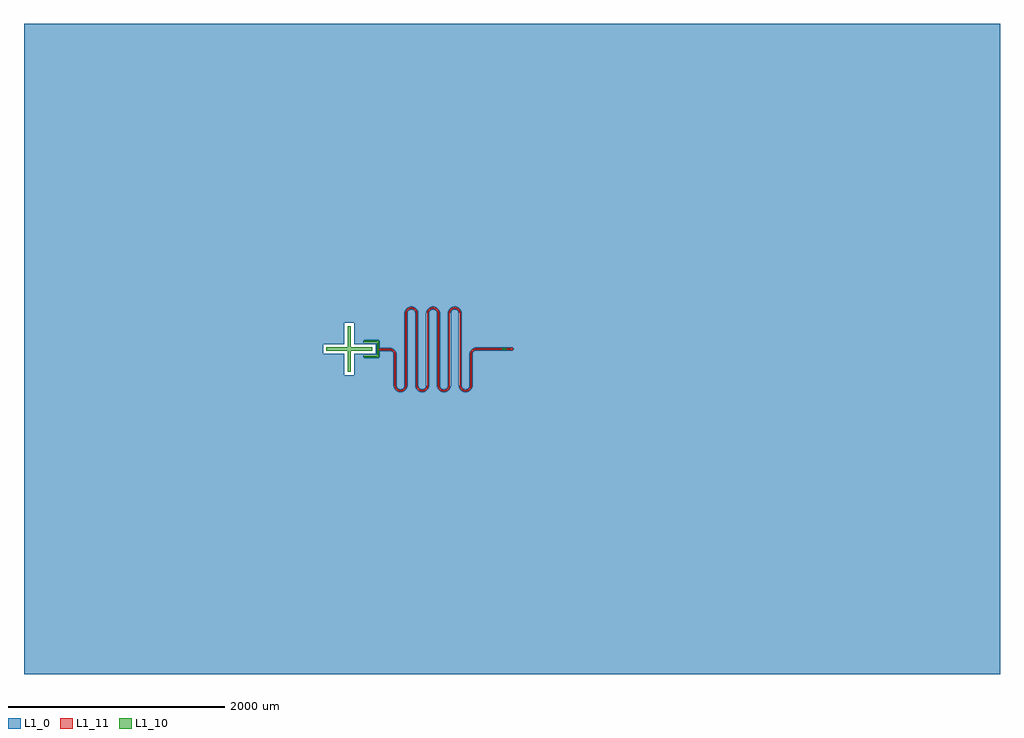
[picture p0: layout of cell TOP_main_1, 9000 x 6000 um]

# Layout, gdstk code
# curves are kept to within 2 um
import gdstk
lib = gdstk.Library(unit=1e-6, precision=1e-09)
def R(c, l, rs):  # rectangles x0, y0, x1, y1
    for r in rs: c.add(gdstk.rectangle(r[:2], r[2:], *l))
def P(c, l, *ps):  # polygons
    for p in ps: c.add(gdstk.Polygon(p, *l))
L1_0 = (1, 0)
L1_10 = (1, 10)
L1_11 = (1, 11)

ground_main_1 = lib.new_cell('ground_main_1')
P(ground_main_1, L1_0, [(-1247.928,-55),(-1247.928,55),(-1369.139,55),(-1369.139,80.2),(-1222.728,80.2),(-1222.728,7.2),(-1116.675,6.188),(-1096.028,-1.709),(-1078.239,-18.244),(-1070.137,-34.003),(-1066.918,-51.428),(-1066.525,-340.278),(-1062.227,-353.507),(-1052.213,-365.502),(-1039.964,-372.094),(-1025.98,-373.961),(-1025.98,3000),(-4500,3000),(-4500,-45),(-1742.072,-45),(-1742.072,45),(-1545,45),(-1545,242.072),(-1455,242.072),(-1455,45),(-1257.928,45),(-1257.928,-45),(-1455,-45),(-1455,-242.072),(-1545,-242.072),(-1545,-45),(-4500,-45),(-4500,-3000),(-1025.98,-3000),(-1025.98,-395.868),(-1047.575,-392.641),(-1066.852,-381.822),(-1080.992,-364.831),(-1087.766,-346.102),(-1088.817,-51.903),(-1095.221,-32.193),(-1107.75,-20.213),(-1122.499,-15.053),(-1222.728,-14.7),(-1222.728,-80.2),(-1369.139,-80.2),(-1369.139,-55)],
  [(-1024.236,-373.843),(-1010.828,-370.143),(-999.575,-361.967),(-991.912,-350.358),(-988.817,-336.797),(-988.129,336.41),(-977.416,362.956),(-955.751,381.666),(-927.928,388.4),(-899.905,381.666),(-899.905,3000),(-1025.98,3000)],
  [(-899.905,354.796),(-919.061,365.523),(-939.964,364.594),(-957.26,353.177),(-966.252,334.505),(-967.04,-339.492),(-972.631,-360.878),(-985.493,-378.856),(-1003.929,-391.053),(-1025.98,-395.868),(-1025.98,-3000),(-899.905,-3000)],
  [(-825.98,-373.961),(-812.419,-370.866),(-799.575,-361.967),(-791.261,-348.736),(-788.778,-335.05),(-788.413,3000),(-899.905,3000),(-899.905,381.666),(-876.979,361.125),(-870.137,347.197),(-866.918,329.772),(-866.721,-338.541),(-862.227,-353.507),(-853.554,-364.382),(-839.964,-372.094)],
  [(-788.413,-381.484),(-801.9,-390.146),(-816.675,-394.888),(-832.369,-395.738),(-849.665,-391.885),(-874.7,-373.974),(-883.931,-358.849),(-888.129,-343.91),(-888.778,327.55),(-891.912,342.858),(-899.905,354.796),(-899.905,-3000),(-788.413,-3000)],
  [(-788.129,336.41),(-782.044,355.373),(-771.734,369.784),(-755.751,381.666),(-736.788,387.751),(-718.868,387.751),(-699.905,381.666),(-683.922,369.784),(-672.631,353.378),(-672.631,3000),(-788.413,3000)],
  [(-672.631,-376.319),(-683.931,-358.849),(-688.737,-337.272),(-689.13,332.778),(-694.291,347.527),(-703.443,358.002),(-715.692,364.594),(-729.675,366.461),(-743.236,363.366),(-756.081,354.467),(-763.743,342.858),(-766.838,329.297),(-766.918,-337.272),(-772.631,-360.878),(-788.413,-381.484),(-788.413,-3000),(-672.631,-3000)],
  [(-625.98,-373.961),(-612.419,-370.866),(-600.811,-363.203),(-592.635,-351.95),(-588.935,-338.541),(-588.737,329.772),(-580.992,357.331),(-563.334,377.039),(-563.334,3000),(-672.631,3000),(-672.631,353.378),(-666.878,327.55),(-666.878,-335.05),(-663.743,-350.358),(-654.845,-363.203),(-641.614,-371.516)],
  [(-563.334,343.76),(-566.878,327.55),(-567.526,-343.91),(-572.631,-360.878),(-582.408,-375.656),(-596.028,-386.991),(-610.197,-393.32),(-627.728,-395.9),(-643.319,-393.921),(-659.627,-386.991),(-672.631,-376.319),(-672.631,-3000),(-563.334,-3000)],
  [(-559.627,379.491),(-532.369,388.238),(-501.9,382.646),(-479.565,364.74),(-467.526,336.41),(-466.838,-336.797),(-459.439,-357.944),(-441.158,-371.676),(-441.158,3000),(-563.334,3000),(-563.334,377.039)],
  [(-441.158,-394.444),(-459.627,-386.991),(-474.7,-373.974),(-483.931,-358.849),(-488.615,-339.492),(-489.404,334.505),(-500.811,355.703),(-522.499,366.147),(-546.385,361.849),(-556.081,354.467),(-563.334,343.76),(-563.334,-3000),(-441.158,-3000)],
  [(4500,3000),(-441.158,3000),(-441.158,-371.676),(-424.236,-373.843),(-407.75,-368.486),(-395.221,-356.507),(-389.404,-342.005),(-388.615,-45.458),(-382.044,-22.077),(-366.852,-3.128),(-349.665,6.935),(-330.15,10.909),(-45.8,12.05),(10.95,9.8),(10.95,-9.8),(-45.8,-12.05),(-329.675,-10.989),(-343.236,-14.084),(-353.554,-20.568),(-363.02,-33),(-366.838,-48.153),(-368.333,-348.281),(-378.239,-370.456),(-396.028,-386.991),(-418.868,-395.251),(-441.158,-394.444),(-441.158,-3000),(4500,-3000)])

top_main_1 = lib.new_cell('TOP_main_1')
P(top_main_1, L1_10, [(-1515,212.072),(-1485,212.072),(-1485,15),(-1287.928,15),(-1287.928,-15),(-1485,-15),(-1485,-212.072),(-1515,-212.072),(-1515,-15),(-1712.072,-15),(-1712.072,15),(-1515,15),(-1515,212.072)],
  [(-1227.828,75.1),(-1227.828,-75.1),(-1364.039,-75.1),(-1364.039,-60.1),(-1242.828,-60.1),(-1242.828,60.1),(-1364.039,60.1),(-1364.039,75.1),(-1227.828,75.1)],
  [(-90.8,-6.95),(-90.8,6.95),(-59.9,6.95),(-59.9,2.05),(-85.9,2.05),(-85.9,-6.95),(-90.8,-6.95)],
  [(-50.9,6.95),(-50.9,-6.95),(-81.8,-6.95),(-81.8,-2.05),(-55.8,-2.05),(-55.8,6.95),(-50.9,6.95)])
R(top_main_1, L1_11, [(-5.85,-9.8,5.85,9.8), (-141.7,-5.85,-90.8,5.85), (-50.9,-5.85,-5.85,5.85)])
P(top_main_1, L1_11, [(-1025.592,-390.759),(-1006.887,-386.758),(-1006.887,-373.847),(-1016.628,-377.679),(-1027.728,-379.1),(-1037.208,-378.111),(-1047.759,-374.383),(-1057.03,-368.117),(-1064.424,-359.717),(-1068.801,-351.474),(-1071.621,-340.645),(-1072.019,-51.515),(-1073.444,-40.947),(-1077.766,-28.913),(-1084.717,-18.179),(-1093.931,-9.312),(-1104.922,-2.778),(-1117.113,1.08),(-1227.828,2.1),(-1227.828,-9.6),(-1127.728,-9.6),(-1116.628,-11.021),(-1100.055,-19.378),(-1088.394,-33.819),(-1084.666,-44.37),(-1083.678,-53.65),(-1082.658,-345.664),(-1075.849,-363.539),(-1061.725,-379.387),(-1044.749,-388.202)],
  [(-1004.922,-385.922),(-992.257,-378.06),(-980.933,-365.354),(-974.576,-351.871),(-972.019,-337.185),(-971.621,333.145),(-967.261,347.381),(-959.73,358.03),(-949.411,366.006),(-935.372,370.966),(-922.133,371.243),(-909.583,367.69),(-898.625,360.617),(-889.271,349.033),(-889.271,367.907),(-904.922,378.422),(-921.334,382.932),(-942.7,381.307),(-961.725,371.887),(-969.548,364.642),(-976.905,354.183),(-983.31,333.943),(-983.717,-336.919),(-985.609,-347.949),(-990.218,-358.146),(-997.248,-366.852),(-1006.887,-373.847),(-1006.887,-386.758)],
  [(-825.592,-390.759),(-812.955,-388.807),(-801.095,-384.027),(-790.636,-376.67),(-782.658,-367.847),(-782.658,338.164),(-783.678,327.55),(-783.836,-338.786),(-785.609,-347.949),(-789.271,-356.533),(-794.661,-364.153),(-803.061,-371.546),(-811.303,-375.923),(-820.283,-378.466),(-829.797,-379.06),(-839.027,-377.679),(-851.023,-372.56),(-860.995,-364.153),(-868.801,-351.474),(-871.819,-338.786),(-872.019,329.685),(-873.444,340.253),(-876.856,350.355),(-882.128,359.624),(-889.271,367.907),(-889.271,349.033),(-885.099,338.65),(-883.678,327.55),(-883.514,-339.318),(-881.685,-349.823),(-877.889,-359.787),(-872.265,-368.847),(-865.02,-376.67),(-856.417,-382.971),(-846.772,-387.518),(-836.438,-390.147)],
  [(-672.997,338.164),(-679.807,356.039),(-692.257,370.56),(-708.883,380.018),(-727.728,383.3),(-746.772,380.018),(-763.398,370.56),(-775.849,356.039),(-782.658,338.164),(-782.658,-367.847),(-774.576,-351.871),(-771.978,-335.05),(-771.819,331.286),(-767.261,347.381),(-758.408,359.352),(-744.352,368.423),(-727.928,371.6),(-713.053,369.084),(-698.625,360.617),(-688.394,347.381),(-683.836,331.286),(-683.678,-335.05),(-681.08,-351.871),(-672.997,-367.847)],
  [(-625.592,-390.759),(-615.025,-389.333),(-604.922,-385.922),(-597.424,-381.845),(-589.069,-375.219),(-582.128,-367.124),(-577.766,-359.787),(-573.971,-349.823),(-572.141,-339.318),(-571.978,327.55),(-570.556,338.65),(-566.384,349.033),(-566.384,367.907),(-573.527,359.624),(-578.8,350.355),(-582.211,340.253),(-583.637,329.685),(-583.836,-338.786),(-586.854,-351.474),(-593.455,-362.723),(-604.632,-372.56),(-616.628,-377.679),(-625.858,-379.06),(-635.372,-378.466),(-644.352,-375.923),(-652.595,-371.546),(-659.73,-365.53),(-665.438,-358.146),(-670.047,-347.949),(-671.819,-338.786),(-671.978,327.55),(-672.997,338.164),(-672.997,-367.847),(-663.398,-378.06),(-652.665,-385.011),(-638.542,-389.78)],
  [(-564.424,352.217),(-555.601,361.822),(-544.352,368.423),(-531.663,371.441),(-518.447,370.611),(-506.245,366.006),(-495.926,358.03),(-488.394,347.381),(-484.311,334.994),(-483.637,-337.185),(-481.08,-351.871),(-473.527,-367.124),(-461.725,-379.387),(-448.768,-386.758),(-448.768,-373.847),(-458.408,-366.852),(-465.438,-358.146),(-470.047,-347.949),(-471.938,-336.919),(-472.631,336.06),(-477.766,352.287),(-487.559,366.209),(-501.095,376.527),(-517.113,382.28),(-538.542,382.28),(-558.232,374.345),(-566.384,367.907),(-566.384,349.033)],
  [(-425.592,-390.759),(-406.887,-386.758),(-390.636,-376.67),(-378.751,-361.683),(-372.631,-343.56),(-371.938,-48.03),(-369.461,-35.225),(-363.344,-23.706),(-349.411,-11.444),(-333.523,-6.207),(-141.7,-5.85),(-141.7,5.85),(-334.321,5.482),(-346.772,2.569),(-356.417,-1.979),(-366.587,-9.731),(-373.527,-17.826),(-381.08,-33.079),(-383.637,-47.765),(-384.035,-340.645),(-386.854,-351.474),(-391.232,-359.717),(-398.625,-368.117),(-407.896,-374.383),(-418.447,-378.111),(-427.928,-379.1),(-439.027,-377.679),(-448.768,-373.847),(-448.768,-386.758),(-436.438,-390.147)])
top_main_1.add(gdstk.Reference(ground_main_1, (0,0)))

lib.write_gds('TOP_main_1.gds')
